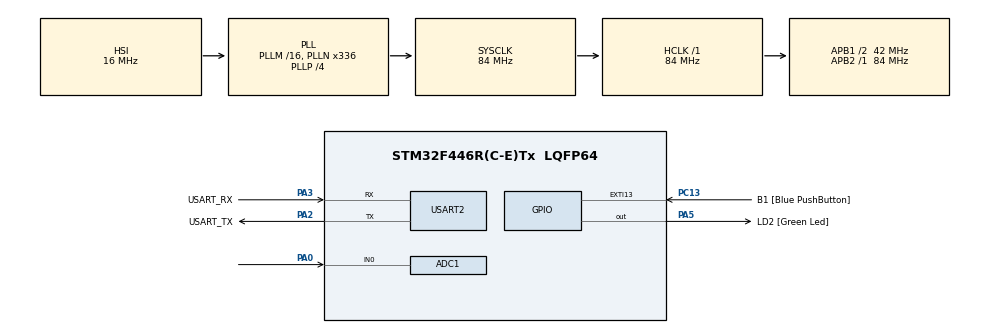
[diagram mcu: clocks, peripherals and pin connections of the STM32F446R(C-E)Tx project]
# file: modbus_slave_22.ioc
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ADC1.Channel-2\#ChannelRegularConversion=ADC_CHANNEL_0
ADC1.ContinuousConvMode=ENABLE
ADC1.NbrOfConversionFlag=1
ADC1.Rank-2\#ChannelRegularConversion=1
ADC1.SamplingTime-2\#ChannelRegularConversion=ADC_SAMPLETIME_3CYCLES
ADC1.master=1
Mcu.Family=STM32F4
Mcu.Name=STM32F446R(C-E)Tx
Mcu.Package=LQFP64
NVIC.ADC_IRQn=true\:0\:0\:false\:false\:true\:true\:true\:true
NVIC.PriorityGroup=NVIC_PRIORITYGROUP_0
NVIC.USART2_IRQn=true\:0\:0\:false\:false\:true\:true\:true\:true
PA0-WKUP.Signal=ADCx_IN0
PA13.GPIO_Label=TMS
PA13.Mode=Serial_Wire
PA13.Signal=SYS_JTMS-SWDIO
PA14.GPIO_Label=TCK
PA14.Mode=Serial_Wire
PA14.Signal=SYS_JTCK-SWCLK
PA2.GPIO_Label=USART_TX
PA2.Mode=Asynchronous
PA2.Signal=USART2_TX
PA3.GPIO_Label=USART_RX
PA3.Mode=Asynchronous
PA3.Signal=USART2_RX
PA5.GPIO_Label=LD2 [Green Led]
PA5.Signal=GPIO_Output
PB3.GPIO_Label=SWO
PB3.Signal=SYS_JTDO-SWO
PC13.GPIO_Label=B1 [Blue PushButton]
PC13.GPIO_ModeDefaultEXTI=GPIO_MODE_IT_FALLING
PC13.Signal=GPXTI13
PC14-OSC32_IN.Mode=LSE-External-Oscillator
PC14-OSC32_IN.Signal=RCC_OSC32_IN
PC15-OSC32_OUT.Mode=LSE-External-Oscillator
PC15-OSC32_OUT.Signal=RCC_OSC32_OUT
PH0-OSC_IN.Mode=HSE-External-Oscillator
PH0-OSC_IN.Signal=RCC_OSC_IN
PH1-OSC_OUT.Mode=HSE-External-Oscillator
PH1-OSC_OUT.Signal=RCC_OSC_OUT
ProjectManager.HeapSize=0x200
ProjectManager.StackSize=0x400
ProjectManager.TargetToolchain=STM32CubeIDE
RCC.48MHZClocksFreq_Value=84000000
RCC.AHBFreq_Value=84000000
RCC.APB1CLKDivider=RCC_HCLK_DIV2
RCC.APB1Freq_Value=42000000
RCC.APB1TimFreq_Value=84000000
RCC.APB2Freq_Value=84000000
RCC.APB2TimFreq_Value=84000000
RCC.CortexFreq_Value=84000000
RCC.FLatency-AdvancedSettings=FLASH_LATENCY_2
RCC.HCLKFreq_Value=84000000
RCC.HSE_VALUE=8000000
RCC.HSI_VALUE=16000000
RCC.PLLN=336
RCC.PLLP=RCC_PLLP_DIV4
RCC.SYSCLKFreq_VALUE=84000000
RCC.SYSCLKSource=RCC_SYSCLKSOURCE_PLLCLK
RCC.USBFreq_Value=168000000
RCC.VCOOutputFreq_Value=336000000
SH.ADCx_IN0.0=ADC1_IN0,IN0
USART2.VirtualMode=VM_ASYNC
board=NUCLEO-F446RE

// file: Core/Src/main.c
/* USER CODE BEGIN Header */
/**
  ******************************************************************************
  * @file           : main.c
  * @brief          : Main program body
  ******************************************************************************
  * @attention
  *
  * Copyright (c) 2024 STMicroelectronics.
  * All rights reserved.
  *
  * This software is licensed under terms that can be found in the LICENSE file
  * in the root directory of this software component.
  * If no LICENSE file comes with this software, it is provided AS-IS.
  *
  ******************************************************************************
  */
/* USER CODE END Header */
#include "main.h"

/* USER CODE BEGIN Includes */
#include "modbusSlave.h"
/* USER CODE END Includes */

ADC_HandleTypeDef hadc1;

UART_HandleTypeDef huart2;

void SystemClock_Config(void);
static void MX_GPIO_Init(void);
static void MX_USART2_UART_Init(void);
static void MX_ADC1_Init(void);

/* USER CODE BEGIN 0 */
uint8_t RxData[256] ={0};
uint8_t TxData[256]={0};

static uint16_t Holding_Registers_Database[50] ;

void HAL_UARTEx_RxEventCallback(UART_HandleTypeDef *huart, uint16_t Size)
{
	if (RxData[0] == SLAVE_ID)
	{
		switch (RxData[1]){
		case 0x03:
			readHoldingRegs();
			break;
		case 0x05:
			writeSingleReg();
			break;
		case 0x10:
			writeHoldingRegs();
			break;
		default:
			modbusException(ILLEGAL_FUNCTION);
			break;
		}
	}

	HAL_UARTEx_ReceiveToIdle_IT(&huart2, RxData, 256);
}
/* USER CODE END 0 */

int main(void)
{

  /* MCU Configuration--------------------------------------------------------*/

  /* Reset of all peripherals, Initializes the Flash interface and the Systick. */
  HAL_Init();

  /* Configure the system clock */
  SystemClock_Config();

  /* Initialize all configured peripherals */
  MX_GPIO_Init();
  MX_USART2_UART_Init();
  MX_ADC1_Init();
  /* USER CODE BEGIN 2 */

  HAL_UARTEx_ReceiveToIdle_IT(&huart2, RxData, 256);

  HAL_ADC_Start_IT(&hadc1);
  /* USER CODE END 2 */

  /* Infinite loop */
  while (1)
  {

  }
}

void SystemClock_Config(void)
{
  RCC_OscInitTypeDef RCC_OscInitStruct = {0};
  RCC_ClkInitTypeDef RCC_ClkInitStruct = {0};

  /** Configure the main internal regulator output voltage
  */
  __HAL_RCC_PWR_CLK_ENABLE();
  __HAL_PWR_VOLTAGESCALING_CONFIG(PWR_REGULATOR_VOLTAGE_SCALE3);

  /** Initializes the RCC Oscillators according to the specified parameters
  * in the RCC_OscInitTypeDef structure.
  */
  RCC_OscInitStruct.OscillatorType = RCC_OSCILLATORTYPE_HSI;
  RCC_OscInitStruct.HSIState = RCC_HSI_ON;
  RCC_OscInitStruct.HSICalibrationValue = RCC_HSICALIBRATION_DEFAULT;
  RCC_OscInitStruct.PLL.PLLState = RCC_PLL_ON;
  RCC_OscInitStruct.PLL.PLLSource = RCC_PLLSOURCE_HSI;
  RCC_OscInitStruct.PLL.PLLM = 16;
  RCC_OscInitStruct.PLL.PLLN = 336;
  RCC_OscInitStruct.PLL.PLLP = RCC_PLLP_DIV4;
  RCC_OscInitStruct.PLL.PLLQ = 2;
  RCC_OscInitStruct.PLL.PLLR = 2;
  if (HAL_RCC_OscConfig(&RCC_OscInitStruct) != HAL_OK)
  {
    Error_Handler();
  }

  /** Initializes the CPU, AHB and APB buses clocks
  */
  RCC_ClkInitStruct.ClockType = RCC_CLOCKTYPE_HCLK|RCC_CLOCKTYPE_SYSCLK
                              |RCC_CLOCKTYPE_PCLK1|RCC_CLOCKTYPE_PCLK2;
  RCC_ClkInitStruct.SYSCLKSource = RCC_SYSCLKSOURCE_PLLCLK;
  RCC_ClkInitStruct.AHBCLKDivider = RCC_SYSCLK_DIV1;
  RCC_ClkInitStruct.APB1CLKDivider = RCC_HCLK_DIV2;
  RCC_ClkInitStruct.APB2CLKDivider = RCC_HCLK_DIV1;

  if (HAL_RCC_ClockConfig(&RCC_ClkInitStruct, FLASH_LATENCY_2) != HAL_OK)
  {
    Error_Handler();
  }
}

static void MX_ADC1_Init(void)
{

  ADC_ChannelConfTypeDef sConfig = {0};

  /** Configure the global features of the ADC (Clock, Resolution, Data Alignment and number of conversion)
  */
  hadc1.Instance = ADC1;
  hadc1.Init.ClockPrescaler = ADC_CLOCK_SYNC_PCLK_DIV4;
  hadc1.Init.Resolution = ADC_RESOLUTION_12B;
  hadc1.Init.ScanConvMode = DISABLE;
  hadc1.Init.ContinuousConvMode = ENABLE;
  hadc1.Init.DiscontinuousConvMode = DISABLE;
  hadc1.Init.ExternalTrigConvEdge = ADC_EXTERNALTRIGCONVEDGE_NONE;
  hadc1.Init.ExternalTrigConv = ADC_SOFTWARE_START;
  hadc1.Init.DataAlign = ADC_DATAALIGN_RIGHT;
  hadc1.Init.NbrOfConversion = 1;
  hadc1.Init.DMAContinuousRequests = DISABLE;
  hadc1.Init.EOCSelection = ADC_EOC_SINGLE_CONV;
  if (HAL_ADC_Init(&hadc1) != HAL_OK)
  {
    Error_Handler();
  }

  /** Configure for the selected ADC regular channel its corresponding rank in the sequencer and its sample time.
  */
  sConfig.Channel = ADC_CHANNEL_0;
  sConfig.Rank = 1;
  sConfig.SamplingTime = ADC_SAMPLETIME_3CYCLES;
  if (HAL_ADC_ConfigChannel(&hadc1, &sConfig) != HAL_OK)
  {
    Error_Handler();
  }

}

static void MX_USART2_UART_Init(void)
{

  huart2.Instance = USART2;
  huart2.Init.BaudRate = 115200;
  huart2.Init.WordLength = UART_WORDLENGTH_8B;
  huart2.Init.StopBits = UART_STOPBITS_1;
  huart2.Init.Parity = UART_PARITY_NONE;
  huart2.Init.Mode = UART_MODE_TX_RX;
  huart2.Init.HwFlowCtl = UART_HWCONTROL_NONE;
  huart2.Init.OverSampling = UART_OVERSAMPLING_16;
  if (HAL_UART_Init(&huart2) != HAL_OK)
  {
    Error_Handler();
  }

}

static void MX_GPIO_Init(void)
{
  GPIO_InitTypeDef GPIO_InitStruct = {0};

  /* GPIO Ports Clock Enable */
  __HAL_RCC_GPIOC_CLK_ENABLE();
  __HAL_RCC_GPIOH_CLK_ENABLE();
  __HAL_RCC_GPIOA_CLK_ENABLE();
  __HAL_RCC_GPIOB_CLK_ENABLE();

  /*Configure GPIO pin Output Level */
  HAL_GPIO_WritePin(LD2_GPIO_Port, LD2_Pin, GPIO_PIN_RESET);

  /*Configure GPIO pin : B1_Pin */
  GPIO_InitStruct.Pin = B1_Pin;
  GPIO_InitStruct.Mode = GPIO_MODE_IT_FALLING;
  GPIO_InitStruct.Pull = GPIO_NOPULL;
  HAL_GPIO_Init(B1_GPIO_Port, &GPIO_InitStruct);

  /*Configure GPIO pin : LD2_Pin */
  GPIO_InitStruct.Pin = LD2_Pin;
  GPIO_InitStruct.Mode = GPIO_MODE_OUTPUT_PP;
  GPIO_InitStruct.Pull = GPIO_NOPULL;
  GPIO_InitStruct.Speed = GPIO_SPEED_FREQ_LOW;
  HAL_GPIO_Init(LD2_GPIO_Port, &GPIO_InitStruct);

}

void Error_Handler(void)
{
  __disable_irq();
  while (1)
  {
  }
}
